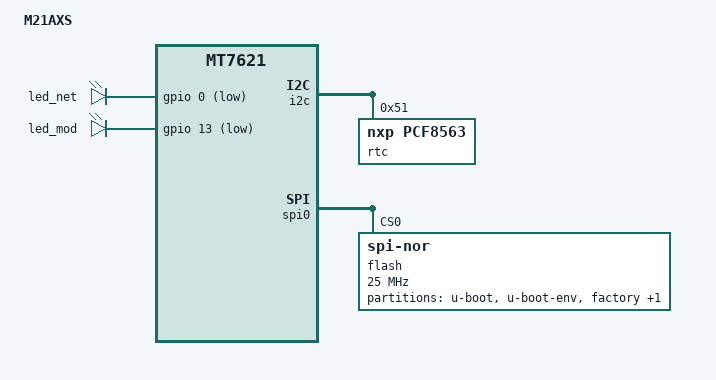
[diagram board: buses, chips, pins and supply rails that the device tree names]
// SPDX-License-Identifier: GPL-2.0-or-later OR MIT

#include "mt7621_iyunlink_m21series.dtsi"

/ {
	compatible = "iyunlink,m21axs", "mediatek,mt7621-soc";
	model = "M21AXS";

	leds {
		compatible = "gpio-leds";

		net_status: net {
			label = "led_net";
			gpios = <&gpio 0 GPIO_ACTIVE_LOW>;
		};
		mod_status:mod{
			label = "led_mod";
			gpios = <&gpio 13 GPIO_ACTIVE_LOW>;
		};
	};
	

};


&i2c {
	status = "okay";
	rtc@51 {
		compatible = "nxp,pcf8563";
		reg = <0x51>;
	};
};

&spi0 {
	status = "okay";

	flash@0 {
		compatible = "jedec,spi-nor";
		reg = <0>;
		spi-max-frequency = <25000000>;
		broken-flash-reset;
		m25p,fast-read;

		partitions {
			compatible = "fixed-partitions";
			#address-cells = <1>;
			#size-cells = <1>;

			partition@0 {
				label = "u-boot";
				reg = <0x00000 0x40000>;
			};

			partition@30000 {
				label = "u-boot-env";
				reg = <0x40000 0x10000>;
			};

			factory: partition@50000 {
				label = "factory";
				reg = <0x50000 0x40000>;
			};

			partition@90000 {
				compatible = "denx,uimage";
				label = "firmware";
				reg = <0x90000 0x1f70000>;
			};
		};
	};
};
